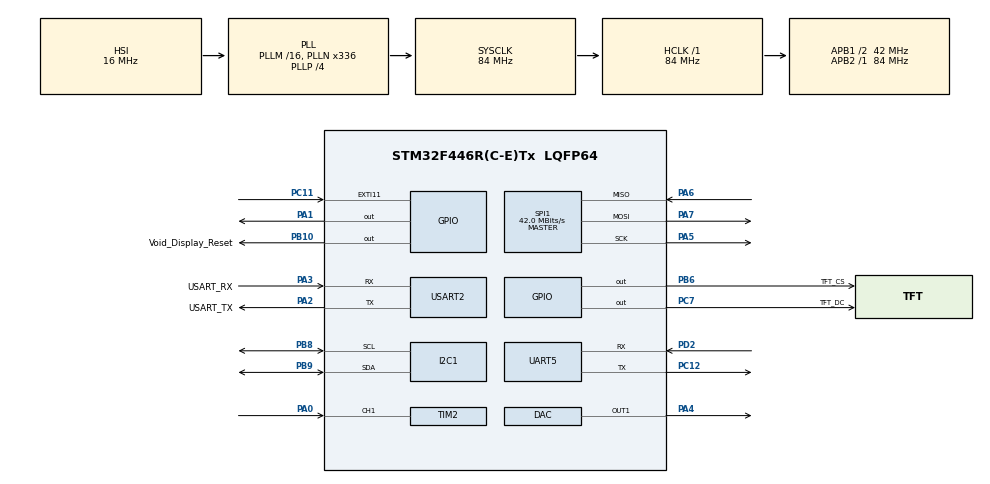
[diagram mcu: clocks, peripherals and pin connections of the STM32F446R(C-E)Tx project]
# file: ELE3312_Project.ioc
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DAC.DAC_Trigger=DAC_TRIGGER_T5_TRGO
Dma.DAC1.2.Direction=DMA_MEMORY_TO_PERIPH
Dma.DAC1.2.FIFOMode=DMA_FIFOMODE_DISABLE
Dma.DAC1.2.Instance=DMA1_Stream5
Dma.DAC1.2.MemDataAlignment=DMA_MDATAALIGN_HALFWORD
Dma.DAC1.2.MemInc=DMA_MINC_ENABLE
Dma.DAC1.2.Mode=DMA_NORMAL
Dma.DAC1.2.PeriphDataAlignment=DMA_PDATAALIGN_HALFWORD
Dma.DAC1.2.PeriphInc=DMA_PINC_DISABLE
Dma.DAC1.2.Priority=DMA_PRIORITY_HIGH
Dma.I2C1_RX.3.Direction=DMA_PERIPH_TO_MEMORY
Dma.I2C1_RX.3.FIFOMode=DMA_FIFOMODE_DISABLE
Dma.I2C1_RX.3.Instance=DMA1_Stream0
Dma.I2C1_RX.3.MemDataAlignment=DMA_MDATAALIGN_BYTE
Dma.I2C1_RX.3.MemInc=DMA_MINC_ENABLE
Dma.I2C1_RX.3.Mode=DMA_NORMAL
Dma.I2C1_RX.3.PeriphDataAlignment=DMA_PDATAALIGN_BYTE
Dma.I2C1_RX.3.PeriphInc=DMA_PINC_DISABLE
Dma.I2C1_RX.3.Priority=DMA_PRIORITY_HIGH
Dma.I2C1_TX.4.Direction=DMA_MEMORY_TO_PERIPH
Dma.I2C1_TX.4.FIFOMode=DMA_FIFOMODE_DISABLE
Dma.I2C1_TX.4.Instance=DMA1_Stream6
Dma.I2C1_TX.4.MemDataAlignment=DMA_MDATAALIGN_BYTE
Dma.I2C1_TX.4.MemInc=DMA_MINC_ENABLE
Dma.I2C1_TX.4.Mode=DMA_NORMAL
Dma.I2C1_TX.4.PeriphDataAlignment=DMA_PDATAALIGN_BYTE
Dma.I2C1_TX.4.PeriphInc=DMA_PINC_DISABLE
Dma.I2C1_TX.4.Priority=DMA_PRIORITY_HIGH
Dma.Request0=SPI1_TX
Dma.Request1=UART5_TX
Dma.Request2=DAC1
Dma.Request3=I2C1_RX
Dma.Request4=I2C1_TX
Dma.SPI1_TX.0.Direction=DMA_MEMORY_TO_PERIPH
Dma.SPI1_TX.0.FIFOMode=DMA_FIFOMODE_DISABLE
Dma.SPI1_TX.0.Instance=DMA2_Stream3
Dma.SPI1_TX.0.MemDataAlignment=DMA_MDATAALIGN_BYTE
Dma.SPI1_TX.0.MemInc=DMA_MINC_ENABLE
Dma.SPI1_TX.0.Mode=DMA_NORMAL
Dma.SPI1_TX.0.PeriphDataAlignment=DMA_PDATAALIGN_BYTE
Dma.SPI1_TX.0.PeriphInc=DMA_PINC_DISABLE
Dma.SPI1_TX.0.Priority=DMA_PRIORITY_LOW
Dma.UART5_TX.1.Direction=DMA_MEMORY_TO_PERIPH
Dma.UART5_TX.1.FIFOMode=DMA_FIFOMODE_DISABLE
Dma.UART5_TX.1.Instance=DMA1_Stream7
Dma.UART5_TX.1.MemDataAlignment=DMA_MDATAALIGN_BYTE
Dma.UART5_TX.1.MemInc=DMA_MINC_ENABLE
Dma.UART5_TX.1.Mode=DMA_NORMAL
Dma.UART5_TX.1.PeriphDataAlignment=DMA_PDATAALIGN_BYTE
Dma.UART5_TX.1.PeriphInc=DMA_PINC_DISABLE
Dma.UART5_TX.1.Priority=DMA_PRIORITY_LOW
I2C1.I2C_Mode=I2C_Fast
Mcu.Family=STM32F4
Mcu.Name=STM32F446R(C-E)Tx
Mcu.Package=LQFP64
NVIC.DMA1_Stream0_IRQn=true\:0\:0\:false\:false\:true\:false\:true\:true
NVIC.DMA1_Stream5_IRQn=true\:0\:0\:false\:false\:true\:false\:true\:true
NVIC.DMA1_Stream6_IRQn=true\:0\:0\:false\:false\:true\:false\:true\:true
NVIC.DMA1_Stream7_IRQn=true\:0\:0\:false\:false\:true\:false\:true\:true
NVIC.DMA2_Stream3_IRQn=true\:0\:0\:false\:false\:true\:false\:true\:true
NVIC.EXTI15_10_IRQn=true\:0\:0\:false\:false\:true\:true\:true\:true
NVIC.I2C1_ER_IRQn=true\:0\:0\:false\:false\:true\:true\:true\:true
NVIC.I2C1_EV_IRQn=true\:0\:0\:false\:false\:true\:true\:true\:true
NVIC.PriorityGroup=NVIC_PRIORITYGROUP_0
NVIC.SPI1_IRQn=true\:0\:0\:false\:false\:true\:true\:true\:true
NVIC.TIM2_IRQn=true\:0\:0\:false\:false\:true\:true\:true\:true
NVIC.TIM4_IRQn=true\:0\:0\:false\:false\:true\:true\:true\:true
NVIC.UART5_IRQn=true\:0\:0\:false\:false\:true\:true\:true\:true
PA0-WKUP.Signal=S_TIM2_CH1_ETR
PA1.GPIO_ModeDefaultOutputPP=GPIO_MODE_OUTPUT_PP
PA1.GPIO_PuPd=GPIO_NOPULL
PA1.Signal=GPIO_Output
PA13.GPIO_Label=TMS
PA13.Mode=Serial_Wire
PA13.Signal=SYS_JTMS-SWDIO
PA14.GPIO_Label=TCK
PA14.Mode=Serial_Wire
PA14.Signal=SYS_JTCK-SWCLK
PA2.GPIO_Label=USART_TX
PA2.Mode=Asynchronous
PA2.Signal=USART2_TX
PA3.GPIO_Label=USART_RX
PA3.Mode=Asynchronous
PA3.Signal=USART2_RX
PA4.Signal=COMP_DAC1_group
PA5.Mode=Full_Duplex_Master
PA5.Signal=SPI1_SCK
PA6.Mode=Full_Duplex_Master
PA6.Signal=SPI1_MISO
PA7.Mode=Full_Duplex_Master
PA7.Signal=SPI1_MOSI
PB10.GPIO_Label=Void_Display_Reset
PB10.Signal=GPIO_Output
PB3.GPIO_Label=SWO
PB3.Signal=SYS_JTDO-SWO
PB6.GPIO_Label=TFT_CS
PB6.Signal=GPIO_Output
PB8.Mode=I2C
PB8.Signal=I2C1_SCL
PB9.Mode=I2C
PB9.Signal=I2C1_SDA
PC11.Signal=GPXTI11
PC12.Mode=Asynchronous
PC12.Signal=UART5_TX
PC14-OSC32_IN.Mode=LSE-External-Oscillator
PC14-OSC32_IN.Signal=RCC_OSC32_IN
PC15-OSC32_OUT.Mode=LSE-External-Oscillator
PC15-OSC32_OUT.Signal=RCC_OSC32_OUT
PC7.GPIO_Label=TFT_DC
PC7.Signal=GPIO_Output
PD2.Mode=Asynchronous
PD2.Signal=UART5_RX
PH0-OSC_IN.Mode=HSE-External-Oscillator
PH0-OSC_IN.Signal=RCC_OSC_IN
PH1-OSC_OUT.Mode=HSE-External-Oscillator
PH1-OSC_OUT.Signal=RCC_OSC_OUT
ProjectManager.HeapSize=0x200
ProjectManager.StackSize=0x400
ProjectManager.TargetToolchain=MDK-ARM V5.32
RCC.48MHZClocksFreq_Value=84000000
RCC.AHBFreq_Value=84000000
RCC.APB1CLKDivider=RCC_HCLK_DIV2
RCC.APB1Freq_Value=42000000
RCC.APB1TimFreq_Value=84000000
RCC.APB2Freq_Value=84000000
RCC.APB2TimFreq_Value=84000000
RCC.CortexFreq_Value=84000000
RCC.FLatency-AdvancedSettings=FLASH_LATENCY_2
RCC.HCLKFreq_Value=84000000
RCC.HSE_VALUE=8000000
RCC.HSI_VALUE=16000000
RCC.PLLN=336
RCC.PLLP=RCC_PLLP_DIV4
RCC.SYSCLKFreq_VALUE=84000000
RCC.SYSCLKSource=RCC_SYSCLKSOURCE_PLLCLK
RCC.USBFreq_Value=168000000
RCC.VCOOutputFreq_Value=336000000
SH.COMP_DAC1_group.0=DAC_OUT1,DAC_OUT1
SH.S_TIM2_CH1_ETR.0=TIM2_CH1,Input_Capture1_from_TI1
SPI1.CalculateBaudRate=42.0 MBits/s
SPI1.Direction=SPI_DIRECTION_2LINES
SPI1.Mode=SPI_MODE_MASTER
SPI1.VirtualType=VM_MASTER
TIM2.Channel-Input_Capture1_from_TI1=TIM_CHANNEL_1
TIM2.ICPolarity_CH1=TIM_INPUTCHANNELPOLARITY_BOTHEDGE
TIM2.Period=0xFFFFFFFF
TIM2.Prescaler=83
TIM4.Period=49999
TIM4.Prescaler=83
TIM5.Period=24
TIM5.Prescaler=83
TIM5.TIM_MasterOutputTrigger=TIM_TRGO_UPDATE
UART5.VirtualMode=Asynchronous
USART2.VirtualMode=VM_ASYNC
VP_TIM2_VS_ClockSourceINT.Mode=Internal
VP_TIM4_VS_ClockSourceINT.Mode=Internal
VP_TIM5_VS_ClockSourceINT.Mode=Internal
board=NUCLEO-F446RE

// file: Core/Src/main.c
/* USER CODE BEGIN Header */
/**
  ******************************************************************************
  * @file           : main.c
  * @brief          : Main program for the ELE3312 project
	* Authors         :
	* Group           :
	*
  ******************************************************************************
	*
  *
  * This file contains the main logic of the game.
  *
  ******************************************************************************
  */
/* USER CODE END Header */
#include "main.h"
#include "dac.h"
#include "dma.h"
#include "i2c.h"
#include "spi.h"
#include "tim.h"
#include "usart.h"
#include "gpio.h"

/* USER CODE BEGIN Includes */
#include "ili9341.h"
#include "ili9341_gfx.h"
#include "stdio.h"
#include "stdlib.h"
#include "math.h"

#include "Graphics.h"
#include "Menu.h"
#include "Game.h"
#include "Battle.h"
#include "stdio.h"
/* USER CODE END Includes */

/* USER CODE BEGIN PV */

// Position pastille de puissance
float player_power_buff = 1;

// accelerometre
float Ax;
float Ay;
float Az;
volatile int tag_started = 0;
uint8_t Rec_Data[6];
volatile int16_t Accel_X_RAW, Accel_Y_RAW, Accel_Z_RAW;
volatile int16_t Gyro_X_RAW, Gyro_Y_RAW, Gyro_Z_RAW;
volatile char flag_exti = 1;
volatile char flag_i2c = 1;
char buf[100];
HAL_StatusTypeDef status;
uint8_t data;
// accelerometre

// uart
uint8_t RxData_temp;
volatile int state =0;
int RxData_i = 0;
RxDataUnion RxData;
TxDataUnion TxData;
// uart

//son
uint32_t tab_value0[TABLE_LENGTH];
uint32_t tab_value1[TABLE_LENGTH];
volatile uint32_t ic_val1 = 0;
volatile uint32_t ic_val2 = 0;
volatile uint8_t is_first_capture = 0; // Drapeau pour savoir quel front est capturé
volatile int distance = 0.0;
volatile int timerMesure = 0;
volatile int flagMesure =0;
volatile float value;
volatile int flag_tableau =0;
// son

ili9341_t *_screen;
player_t players[NUM_PLAYERS] = {0};
/* USER CODE END PV */

void SystemClock_Config(void);
/* USER CODE BEGIN PFP */

// timer
volatile int flag_timer_4;
//

// accelerometre
void HAL_GPIO_EXTI_Callback(uint16_t GPIO_Pin) {
	UNUSED(GPIO_Pin);
	if ((GPIO_Pin == GPIO_PIN_11) & tag_started) {
		flag_exti = 1;
	}
}

void HAL_I2C_MemRxCpltCallback(I2C_HandleTypeDef *hi2c) {
	if (hi2c->Instance == I2C1) {
		flag_i2c = 1;
		Accel_X_RAW = (int16_t)(Rec_Data[0] << 8 | Rec_Data [1]);
		Accel_Y_RAW = (int16_t)(Rec_Data[2] << 8 | Rec_Data [3]);
		Accel_Z_RAW = (int16_t)(Rec_Data[4] << 8 | Rec_Data [5]);
		Ax = Accel_X_RAW*100/16384.0;
		Ay = Accel_Y_RAW*100/16384.0;
		Az = Accel_Z_RAW*100/16384.0;
	}
}
void AccelInnit(void) {
	ili9341_text_attr_t text_attr = {&ili9341_font_11x18,ILI9341_WHITE,	ILI9341_BLACK,0,0};

	// HAL_I2C_IsDeviceReady
	status = HAL_I2C_IsDeviceReady(&hi2c1, MPU6050_ADDR, 10, 100);
	while (status!=HAL_OK){
		status = HAL_I2C_IsDeviceReady(&hi2c1, MPU6050_ADDR, 1000, 1000);
		if (status == HAL_BUSY) sprintf(buf,"I2C busy... %#04x", status);
		else if (status == HAL_ERROR) sprintf(buf,"I2C Error... %#04x", status);
		else sprintf(buf,"status: %#04x", status);
		ili9341_draw_string(_screen, text_attr, buf);
		HAL_Delay(10);
	}

	// WHO_AM_I
	uint8_t data_WhoAmI;
	status = HAL_I2C_Mem_Read_DMA(&hi2c1, MPU6050_ADDR, WHO_AM_I_REG, 1, &data_WhoAmI, 1);
	while	(status != HAL_OK) {
		status = HAL_I2C_Mem_Read_DMA(&hi2c1, MPU6050_ADDR, WHO_AM_I_REG, 1, &data_WhoAmI, 1);
		sprintf(buf,"CHECKING ACCELEROMETER CONNECTION...");
		text_attr.origin_y = 20;
		ili9341_draw_string(_screen, text_attr, buf);
		HAL_Delay(10);
	};

	sprintf(buf,"ACCELEROMETER CONNECTED!");
	ili9341_draw_string(_screen, text_attr, buf);

	// RESET SLEEP MODE, SELECT INTERNAL CLOCK
	data = 0;
	status = HAL_I2C_Mem_Write_DMA(&hi2c1, MPU6050_ADDR, PWR_MGMT_1_REG, 1, &data, 1);
	while (status != HAL_OK) {
		status = HAL_I2C_Mem_Write_DMA(&hi2c1, MPU6050_ADDR, PWR_MGMT_1_REG, 1, &data, 1);
		sprintf(buf,"WHO_AM_I...");
		text_attr.origin_y = 20;
		ili9341_draw_string(_screen, text_attr, buf);
		HAL_Delay(10);
	};

	sprintf(buf,"WHO_AM_I -> %u", data_WhoAmI);
	text_attr.origin_y = 20;
	ili9341_draw_string(_screen, text_attr, buf);

	// FS_SEL = ±250°/s, DESACTIVER SELFTEST
	data = 0;
	status = HAL_I2C_Mem_Write_DMA(&hi2c1, MPU6050_ADDR, GYRO_CONFIG_REG, 1, &data, 1);
	while (status != HAL_OK) {
		status = HAL_I2C_Mem_Write_DMA(&hi2c1, MPU6050_ADDR, GYRO_CONFIG_REG, 1, &data, 1);
		sprintf(buf,"PWR_MGMT_1...");
		text_attr.origin_y = 40;
		ili9341_draw_string(_screen, text_attr, buf);
		HAL_Delay(10);
	};
	sprintf(buf,"PWR_MGMT_1 : OK!");
	text_attr.origin_y = 40;
	ili9341_draw_string(_screen, text_attr, buf);

	// AFS_SEL = ±2g, DESACTIVER SELFTEST
	data = 0;
	status = HAL_I2C_Mem_Write_DMA(&hi2c1, MPU6050_ADDR, ACCEL_CONFIG_REG, 1, &data, 1);
	while (status != HAL_OK) {
		status = HAL_I2C_Mem_Write_DMA(&hi2c1, MPU6050_ADDR, ACCEL_CONFIG_REG, 1, &data, 1);
		sprintf(buf,"GYRO_CONFIG...");
		text_attr.origin_y = 60;
		ili9341_draw_string(_screen, text_attr, buf);
		HAL_Delay(10);
	};
	sprintf(buf,"GYRO_CONFIG : OK!");
	text_attr.origin_y = 60;
	ili9341_draw_string(_screen, text_attr, buf);

	// Bandwidth = 94
	data = 2;
	status = HAL_I2C_Mem_Write_DMA(&hi2c1, MPU6050_ADDR, CONFIG_REG, 1, &data, 1);
	while (status != HAL_OK) {
		status = HAL_I2C_Mem_Write_DMA(&hi2c1, MPU6050_ADDR, CONFIG_REG, 1, &data, 1);
		sprintf(buf,"ACCEL_CONFIG...");
		text_attr.origin_y = 80;
		ili9341_draw_string(_screen, text_attr, buf);
		HAL_Delay(10);
	};
	sprintf(buf,"ACCEL_CONFIG : OK!");
	text_attr.origin_y = 80;
	ili9341_draw_string(_screen, text_attr, buf);

	// DATA_RDY_EN = 1
	data = 1;
	status = HAL_I2C_Mem_Write_DMA(&hi2c1, MPU6050_ADDR, INT_ENABLE_REG, 1, &data, 1);
	while (status != HAL_OK) {
		status = HAL_I2C_Mem_Write_DMA(&hi2c1, MPU6050_ADDR, INT_ENABLE_REG, 1, &data, 1);
		sprintf(buf,"CONFIG...");
		text_attr.origin_y = 100;
		ili9341_draw_string(_screen, text_attr, buf);
		HAL_Delay(10);
	};
	sprintf(buf,"CONFIG : OK!");
	text_attr.origin_y = 100;
	ili9341_draw_string(_screen, text_attr, buf);

	sprintf(buf,"INT_ENABLE : OK!");
	text_attr.origin_y = 120;
	ili9341_draw_string(_screen, text_attr, buf);

	HAL_Delay(2000);
	ili9341_fill_screen(_screen, ILI9341_BLACK);
	text_attr.origin_y = 0;

};
// accelerometre

// uart
void HAL_UART_RxCpltCallback(UART_HandleTypeDef *huart){
	if (huart == &huart5){
		if (state == 0){
			if (RxData_temp == 0xFF) state = 1;
		}
		else if (state ==1){
			if (RxData_temp <= UART_BUFFER_SIZE) state = 2;
			else state = 0;
		}
		else {
			RxData.RxDataArray[RxData_i] = RxData_temp;
			RxData_i++;
			if (RxData_i>=UART_BUFFER_SIZE){
				RxData_i = 0;
				state = 0;
			}
		}
		HAL_UART_Receive_IT(&huart5, &RxData_temp, 1);
	}
}
// uart

//son
void HAL_DelayMicroseconds(uint32_t us) {
	uint32_t start = DWT->CYCCNT;  // Current cycle count
	uint32_t ticks = (HAL_RCC_GetHCLKFreq() / 1000000) * us;  // Cycles for 'us' microseconds

	while ((DWT->CYCCNT - start) < ticks);  // Wait until the elapsed cycles reach the target
}

void trigger (void) {
	HAL_GPIO_WritePin(GPIOA, GPIO_PIN_1, GPIO_PIN_SET);
	HAL_DelayMicroseconds(10);
	HAL_GPIO_WritePin(GPIOA, GPIO_PIN_1, GPIO_PIN_RESET);
}

void HAL_TIM_IC_CaptureCallback(TIM_HandleTypeDef *htim) {
	// Vérifie que l'interruption vient du bon canal
	if (htim->Channel == HAL_TIM_ACTIVE_CHANNEL_1) {
		if	(timerMesure++ ==100){
			timerMesure=0;
			flagMesure = 1;
		}
		if (is_first_capture == 0) {
			// Capture du front montant
			ic_val1 = HAL_TIM_ReadCapturedValue(htim, TIM_CHANNEL_1); // Lit la première valeur de capture
			is_first_capture = 1;                                     // Marque que le front montant a été capturé
		}
		else if (is_first_capture == 1) {
			// Capture du front descendant
			ic_val2 = HAL_TIM_ReadCapturedValue(htim, TIM_CHANNEL_1); // Lit la seconde valeur de capture
			__HAL_TIM_SET_COUNTER(htim, 0);                           // Réinitialise le compteur pour la prochaine mesure

			// Calcul de la durée d'impulsion
			uint32_t diff = (ic_val2 > ic_val1) ? (ic_val2 - ic_val1) : ((0xFFFF - ic_val1) + ic_val2 + 1);
			distance = (float)(diff * 0.0343) / 2; // Convertit la durée en distance (en cm)

			is_first_capture = 0; // Réinitialise pour la prochaine mesure
		}
	}
}

void JouerNote(int dist) {
	int note = 0;

	if (0<dist && dist<=6) {
		note = (int)(40000/789.99f);
	}

	else if (6<dist && dist<=9) {
		note = (int)(40000/698.46f);
	}

	else if (9<dist && dist<=12) {
		note = (int)(40000/659.26f);
	}

	else if (12<dist && dist<=15) {
		note = (int)(40000/622.25f);
	}

	else if (15<dist && dist<=18) {
		note = (int)(40000/587.33f);
	}

	else if (18<dist && dist<=21) {
		note = (int)(40000/523.25f);
	}

	else if (21<dist && dist<=24) {
		note = (int)(40000/493.88f);
	}

	else if (24<dist && dist<=27) {
		note = (int)(40000/440.0f);
	}

	else if (27<dist && dist<=30) {
		note = (int)(40000/392.00f);
	}

	else if (30<dist && dist<=33) {
		note = (int)(40000/369.99f);
	}

	else if (33<dist && dist<=36) {
		note = (int)(40000/329.63f);
	}

	else if (36<dist && dist<=39) {
		note = (int)(40000/311.13f);
	}

	else if (39<dist && dist<=42) {
		note = (int)(40000/293.66f);
	}

	else if (42<dist && dist<=45) {
		note = (int)(40000/261.63f);
	}

	else if (45<dist) {
		note = (int)(40000/246.94f);
	}

	if (flag_tableau == 0) {
		for (int i = 0; i<TABLE_LENGTH; i++) {
			if(i% note < (note / 2)) {
				value = 4000;
				tab_value0[i]= value;
			}

			else {
				value = 0;
				tab_value0[i]=value;
			}
		}
	}
	else {
		for (int i = 0; i<TABLE_LENGTH; i++) {
			if(i% note < (note / 2)) {
				value = 4000;
				tab_value1[i]=value;
			}
			else{
				value = 0;
				tab_value1[i]=value;
			}
		}
	}
}
//son

// timer
void HAL_TIM_PeriodElapsedCallback(TIM_HandleTypeDef *htim) {
	if (htim->Instance == TIM4) {
		flag_timer_4++;
	}
}
// timer
/* USER CODE END PFP */

int main(void)
{

  /* MCU Configuration--------------------------------------------------------*/

  /* Reset of all peripherals, Initializes the Flash interface and the Systick. */
  HAL_Init();

  /* USER CODE BEGIN Init */

	// accelerometre
  HAL_Delay(500);
	// accelerometre

  /* Default players setting */
  static game_state_t game_state = CHOOSE_PLAYER;
  /* USER CODE END Init */

  /* Configure the system clock */
  SystemClock_Config();

  /* USER CODE BEGIN SysInit */

  //son
  if (!(CoreDebug->DEMCR & CoreDebug_DEMCR_TRCENA_Msk)) {
	CoreDebug->DEMCR |= CoreDebug_DEMCR_TRCENA_Msk;  // Enable DWT
  }
  DWT->CTRL |= DWT_CTRL_CYCCNTENA_Msk;  // Enable the cycle counter
  DWT->CYCCNT = 0;  // Reset the cycle counter
  // son

  /* USER CODE END SysInit */

  /* Initialize all configured peripherals */
  MX_GPIO_Init();
  MX_DMA_Init();
  MX_SPI1_Init();
  MX_USART2_UART_Init();
  MX_I2C1_Init();
  MX_UART5_Init();
  MX_DAC_Init();
  MX_TIM2_Init();
  MX_TIM5_Init();
  MX_TIM4_Init();
  /* USER CODE BEGIN 2 */

	// Initialize the screen
	_screen = ili9341_new(
		&hspi1,
		Void_Display_Reset_GPIO_Port, Void_Display_Reset_Pin,
		TFT_CS_GPIO_Port, TFT_CS_Pin,
		TFT_DC_GPIO_Port, TFT_DC_Pin,
		isoLandscapeFlip,
		NULL, NULL,
		NULL, NULL,
		itsNotSupported,
		itnNormalized
	);
	char text[40];
	ili9341_text_attr_t text_attr = {&ili9341_font_11x18,  ILI9341_WHITE, ILI9341_BLACK, 10, 0};
	ili9341_fill_screen(_screen, ILI9341_BLACK);

	// son
	HAL_TIM_Base_Start(&htim2);
	HAL_TIM_Base_Start(&htim5);
	HAL_TIM_Base_Start_IT(&htim4);
	HAL_TIM_IC_Start_IT(&htim2, TIM_CHANNEL_1);
	for (int i=0;i<TABLE_LENGTH;i++) {
		value = 0;
		tab_value0[i]=(int) value;
	}

	HAL_DAC_Start_DMA(&hdac, DAC_CHANNEL_1, tab_value0,TABLE_LENGTH, DAC_ALIGN_12B_R);
	// son

	//accelerometre
	AccelInnit();
	tag_started = 1;
	//accelerometre

	//uart
	TxData.TxDataStruct.FFByte = 0xFF;
	TxData.TxDataStruct.sizeByte = UART_BUFFER_SIZE;
	HAL_UART_Receive_IT(&huart5, &RxData_temp, 1);
	//uart

  /* USER CODE END 2 */

  /* Infinite loop */
  /* USER CODE BEGIN WHILE */
	player_t* player = &players[LOCAL_PLAYER_ID];
	player_t* enemy = &players[ENEMY_PLAYER_ID];

	int16_t x = 0, y = 0;

	/* Infinite loop */
  while (1)
  {
    /* USER CODE END WHILE */

    /* USER CODE BEGIN 3 */

		while (flag_timer_4 == 0) ; // a remplacer avec un timer
		flag_timer_4 = 0;

		switch(game_state) {
		case CHOOSE_PLAYER:
			choosePlayer(_screen, players);
			game_state = INIT_MAZE;
			break;

		case INIT_MAZE:
			player->current_pos = player->start_pos;
			enemy->current_pos = enemy->start_pos;
			drawMaze(_screen, players);
			game_state = WANDER_MAZE;
			break;

		case WANDER_MAZE:
			// Obtenir la nouvelle position d�sir�e
			if (flag_exti & flag_i2c) {
				flag_exti = 0;
				flag_i2c = 0;
				HAL_I2C_Mem_Read_DMA(&hi2c1, MPU6050_ADDR, ACCEL_XOUT_H_REG, 1, Rec_Data, 6);
			}
			x = player->current_pos.x - 0.05 * Ay;
			y = player->current_pos.y - 0.05 * Ax;

			TxData.TxDataStruct.var1 = x & 0xff;
			TxData.TxDataStruct.var2 = x >> 8;
			TxData.TxDataStruct.var3 = y & 0xff;
			TxData.TxDataStruct.var4 = y >> 8;

			if (((player->current_pos.x - (12*10+5))*(player->current_pos.x - (12*10+5))+(player->current_pos.x - (9*10+5))*(player->current_pos.x - (9*10+5)))<100 & RxData.RxDataStruct.var6!=12 & TxData.TxDataStruct.var6 != 12) {
				TxData.TxDataStruct.var6 = 12;
				player_power_buff = 3;

			}

			// Obtenir et mettre à jour la position de l'adversaire
			HAL_UART_Transmit_DMA(&huart5, TxData.TxDataArray, UART_BUFFER_SIZE);
//			enemy->previous_pos = enemy->current_pos;
//			enemy->current_pos.x = RxData.RxDataStruct.var2 << 8 | RxData.RxDataStruct.var1;
//			enemy->current_pos.y = RxData.RxDataStruct.var4 << 8 | RxData.RxDataStruct.var3;
			drawRemotePlayer(_screen, enemy);
			// Vérifier la rencontre avec l'adversaire
			if(updatePosition(_screen, (position_t){x, y}, players)) { //| RxData.RxDataStruct.var5) {
				TxData.TxDataStruct.var1 = 0;
				TxData.TxDataStruct.var2 = 0;
				TxData.TxDataStruct.var3 = 0;
				TxData.TxDataStruct.var4 = 0;
				TxData.TxDataStruct.var5 = 12;
				TxData.TxDataStruct.var6 = 0;
				game_state = BATTLE;
				continue;
			}
			break;

		case BATTLE:
			battle(_screen, players);
			game_state = INIT_MAZE;
			flag_timer_4 = 0;
			break;
		}
  }
  /* USER CODE END 3 */
}

void SystemClock_Config(void)
{
  RCC_OscInitTypeDef RCC_OscInitStruct = {0};
  RCC_ClkInitTypeDef RCC_ClkInitStruct = {0};

  /** Configure the main internal regulator output voltage
  */
  __HAL_RCC_PWR_CLK_ENABLE();
  __HAL_PWR_VOLTAGESCALING_CONFIG(PWR_REGULATOR_VOLTAGE_SCALE3);

  /** Initializes the RCC Oscillators according to the specified parameters
  * in the RCC_OscInitTypeDef structure.
  */
  RCC_OscInitStruct.OscillatorType = RCC_OSCILLATORTYPE_HSI;
  RCC_OscInitStruct.HSIState = RCC_HSI_ON;
  RCC_OscInitStruct.HSICalibrationValue = RCC_HSICALIBRATION_DEFAULT;
  RCC_OscInitStruct.PLL.PLLState = RCC_PLL_ON;
  RCC_OscInitStruct.PLL.PLLSource = RCC_PLLSOURCE_HSI;
  RCC_OscInitStruct.PLL.PLLM = 16;
  RCC_OscInitStruct.PLL.PLLN = 336;
  RCC_OscInitStruct.PLL.PLLP = RCC_PLLP_DIV4;
  RCC_OscInitStruct.PLL.PLLQ = 2;
  RCC_OscInitStruct.PLL.PLLR = 2;
  if (HAL_RCC_OscConfig(&RCC_OscInitStruct) != HAL_OK)
  {
    Error_Handler();
  }

  /** Initializes the CPU, AHB and APB buses clocks
  */
  RCC_ClkInitStruct.ClockType = RCC_CLOCKTYPE_HCLK|RCC_CLOCKTYPE_SYSCLK
                              |RCC_CLOCKTYPE_PCLK1|RCC_CLOCKTYPE_PCLK2;
  RCC_ClkInitStruct.SYSCLKSource = RCC_SYSCLKSOURCE_PLLCLK;
  RCC_ClkInitStruct.AHBCLKDivider = RCC_SYSCLK_DIV1;
  RCC_ClkInitStruct.APB1CLKDivider = RCC_HCLK_DIV2;
  RCC_ClkInitStruct.APB2CLKDivider = RCC_HCLK_DIV1;

  if (HAL_RCC_ClockConfig(&RCC_ClkInitStruct, FLASH_LATENCY_2) != HAL_OK)
  {
    Error_Handler();
  }
}

/* USER CODE BEGIN 4 */
int fputc(int ch, FILE *f)
{
  HAL_UART_Transmit(&huart2, (uint8_t *)&ch, 1, HAL_MAX_DELAY);
  return ch;
}

void HAL_DAC_ConvCpltCallbackCh1(DAC_HandleTypeDef* hdac) {
// Ici on alterne entre les deux tableaux.
	if (flag_tableau == 0) {
		HAL_DAC_Start_DMA(hdac, DAC_CHANNEL_1, tab_value0, TABLE_LENGTH, DAC_ALIGN_12B_R);
	}
	else {
		HAL_DAC_Start_DMA(hdac, DAC_CHANNEL_1, tab_value1, TABLE_LENGTH, DAC_ALIGN_12B_R);
	}
}

/* USER CODE END 4 */

void Error_Handler(void)
{
  __disable_irq();
  while (1)
  {
  }
}
